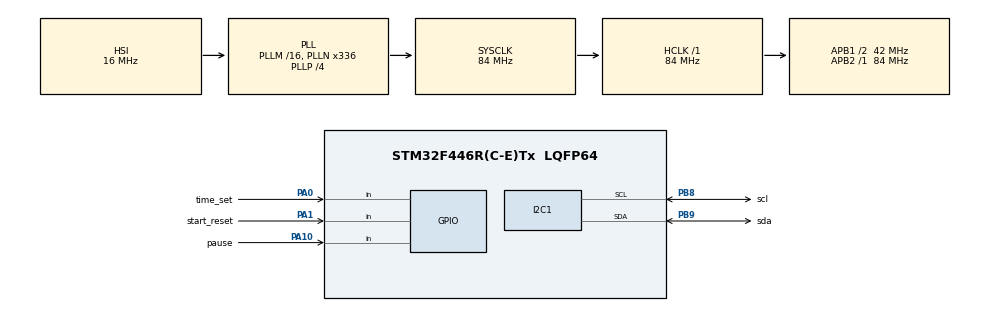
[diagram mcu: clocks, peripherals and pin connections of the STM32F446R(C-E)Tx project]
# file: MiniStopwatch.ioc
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Mcu.Family=STM32F4
Mcu.Name=STM32F446R(C-E)Tx
Mcu.Package=LQFP64
NVIC.PriorityGroup=NVIC_PRIORITYGROUP_0
NVIC.TIM2_IRQn=true\:0\:0\:false\:false\:true\:true\:true\:true
PA0-WKUP.GPIO_Label=time_set
PA0-WKUP.GPIO_PuPd=GPIO_PULLUP
PA0-WKUP.Signal=GPIO_Input
PA1.GPIO_Label=start_reset
PA1.GPIO_PuPd=GPIO_PULLUP
PA1.Signal=GPIO_Input
PA10.GPIO_Label=pause
PA10.GPIO_PuPd=GPIO_PULLUP
PA10.Signal=GPIO_Input
PA13.Mode=Serial_Wire
PA13.Signal=SYS_JTMS-SWDIO
PA14.Mode=Serial_Wire
PA14.Signal=SYS_JTCK-SWCLK
PB8.GPIO_Label=scl
PB8.Mode=I2C
PB8.Signal=I2C1_SCL
PB9.GPIO_Label=sda
PB9.Mode=I2C
PB9.Signal=I2C1_SDA
PH0-OSC_IN.Mode=HSE-External-Oscillator
PH0-OSC_IN.Signal=RCC_OSC_IN
PH1-OSC_OUT.Mode=HSE-External-Oscillator
PH1-OSC_OUT.Signal=RCC_OSC_OUT
ProjectManager.HeapSize=0x200
ProjectManager.StackSize=0x400
ProjectManager.TargetToolchain=STM32CubeIDE
RCC.48MHZClocksFreq_Value=84000000
RCC.AHBFreq_Value=84000000
RCC.APB1CLKDivider=RCC_HCLK_DIV2
RCC.APB1Freq_Value=42000000
RCC.APB1TimFreq_Value=84000000
RCC.APB2Freq_Value=84000000
RCC.APB2TimFreq_Value=84000000
RCC.CortexFreq_Value=84000000
RCC.FLatency-AdvancedSettings=FLASH_LATENCY_2
RCC.HCLKFreq_Value=84000000
RCC.HSE_VALUE=8000000
RCC.HSI_VALUE=16000000
RCC.PLLN=336
RCC.PLLP=RCC_PLLP_DIV4
RCC.SYSCLKFreq_VALUE=84000000
RCC.SYSCLKSource=RCC_SYSCLKSOURCE_PLLCLK
RCC.USBFreq_Value=168000000
RCC.VCOOutputFreq_Value=336000000
TIM2.Period=9
TIM2.Prescaler=8399
VP_TIM2_VS_ClockSourceINT.Mode=Internal
board=NUCLEO-F446RE

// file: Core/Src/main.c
/* USER CODE BEGIN Header */
/**
 ******************************************************************************
 * @file           : main.c
 * @brief          : Main program body
 ******************************************************************************
 * @attention
 *
 * Copyright (c) 2026 STMicroelectronics.
 * All rights reserved.
 *
 * This software is licensed under terms that can be found in the LICENSE file
 * in the root directory of this software component.
 * If no LICENSE file comes with this software, it is provided AS-IS.
 *
 ******************************************************************************
 */
/* USER CODE END Header */
#include "main.h"
#include <stdio.h>
#include "ssd1306.h"
#include "ssd1306_fonts.h"
#include "ssd1306_tests.h"

/* USER CODE BEGIN PTD */
typedef enum {
	STATE_IDLE, STATE_RUNNING, STATE_PAUSED, STATE_FINISHED
} State_t;

/* USER CODE END PTD */

I2C_HandleTypeDef hi2c1;

TIM_HandleTypeDef htim2;

/* USER CODE BEGIN PV */

volatile uint32_t total_ms = 0;
volatile State_t state = STATE_IDLE;
uint32_t set_minutes = 0;
uint32_t last_display_time = 0; // screen refresh control

/* USER CODE END PV */

void SystemClock_Config(void);
static void MX_GPIO_Init(void);
static void MX_I2C1_Init(void);
static void MX_TIM2_Init(void);

/* USER CODE BEGIN 0 */

void HAL_TIM_PeriodElapsedCallback(TIM_HandleTypeDef *htim) {
	if (htim->Instance == TIM2) {
		if (state == STATE_RUNNING && total_ms > 0) {
			total_ms--;

			if (total_ms == 0) {
				state = STATE_FINISHED;
			}
		}
	}
}

void check_buttons() {
	static uint32_t last_tick = 0;
	if (HAL_GetTick() - last_tick < 50)
		return; // 50ms debounce
	last_tick = HAL_GetTick();

	// Time setting button (PA0)
	if (HAL_GPIO_ReadPin(GPIOA, GPIO_PIN_0) == GPIO_PIN_RESET) {
		if (state == STATE_IDLE || state == STATE_FINISHED) {
			state = STATE_IDLE; // Eğer bittiyse başa dön
			set_minutes = (set_minutes >= 10) ? 0 : set_minutes + 1;
			total_ms = set_minutes * 60000;
		}
	}

	// Start / Reset Button (PA1)
	if (HAL_GPIO_ReadPin(GPIOA, GPIO_PIN_1) == GPIO_PIN_RESET) {
		if (state == STATE_IDLE && total_ms > 0) {
			state = STATE_RUNNING;
		} else { // Durdur ve Sıfırla
			state = STATE_IDLE;
			total_ms = 0;
			set_minutes = 0;
		}
	}

	// Pause Button (PA10)
	if (HAL_GPIO_ReadPin(pause_GPIO_Port, pause_Pin) == GPIO_PIN_RESET) {
		if (state == STATE_RUNNING)
			state = STATE_PAUSED;
		else if (state == STATE_PAUSED)
			state = STATE_RUNNING;
	}
}

void refresh_display() {
	// refresh rate = 20 fps (50 ms)
	if (HAL_GetTick() - last_display_time < 50)
		return;
	last_display_time = HAL_GetTick();

	ssd1306_Fill(Black); // Clear screen (on buffer)

	// safe total_ms reading
	__disable_irq();
	uint32_t temp_ms = total_ms;
	__enable_irq();

	uint32_t minutes = temp_ms / 60000;
	uint32_t seconds = (temp_ms % 60000) / 1000;
	uint32_t ms = temp_ms % 1000;

	char buffer[20];
	sprintf(buffer, "%02lu:%02lu:%03lu", minutes, seconds, ms);

	ssd1306_SetCursor(0, 0);
	ssd1306_WriteString("STOPWATCH", Font_7x10, White);

	ssd1306_SetCursor(0, 20);
	ssd1306_WriteString(buffer, Font_11x18, White);

	// state messages
	ssd1306_SetCursor(0, 50);
	if (state == STATE_PAUSED) {
		ssd1306_WriteString("PAUSED", Font_7x10, White);
	} else if (state == STATE_FINISHED) {
		ssd1306_WriteString("TIME'S UP!", Font_7x10, White);
	} else if (state == STATE_RUNNING) {
		ssd1306_WriteString("RUNNING...", Font_7x10, White);
	}

	ssd1306_UpdateScreen();
}

/* USER CODE END 0 */

int main(void) {

	/* MCU Configuration--------------------------------------------------------*/

	/* Reset of all peripherals, Initializes the Flash interface and the Systick. */
	HAL_Init();

	/* Configure the system clock */
	SystemClock_Config();

	/* Initialize all configured peripherals */
	MX_GPIO_Init();
	MX_I2C1_Init();
	MX_TIM2_Init();
	/* USER CODE BEGIN 2 */
	ssd1306_Init();

	HAL_TIM_Base_Start_IT(&htim2);
	/* USER CODE END 2 */

	/* Infinite loop */
	while (1) {

		/* USER CODE BEGIN 3 */
		check_buttons();
		refresh_display();
	}
	/* USER CODE END 3 */
}

void SystemClock_Config(void) {
	RCC_OscInitTypeDef RCC_OscInitStruct = { 0 };
	RCC_ClkInitTypeDef RCC_ClkInitStruct = { 0 };

	/** Configure the main internal regulator output voltage
	 */
	__HAL_RCC_PWR_CLK_ENABLE();
	__HAL_PWR_VOLTAGESCALING_CONFIG(PWR_REGULATOR_VOLTAGE_SCALE3);

	/** Initializes the RCC Oscillators according to the specified parameters
	 * in the RCC_OscInitTypeDef structure.
	 */
	RCC_OscInitStruct.OscillatorType = RCC_OSCILLATORTYPE_HSI;
	RCC_OscInitStruct.HSIState = RCC_HSI_ON;
	RCC_OscInitStruct.HSICalibrationValue = RCC_HSICALIBRATION_DEFAULT;
	RCC_OscInitStruct.PLL.PLLState = RCC_PLL_ON;
	RCC_OscInitStruct.PLL.PLLSource = RCC_PLLSOURCE_HSI;
	RCC_OscInitStruct.PLL.PLLM = 16;
	RCC_OscInitStruct.PLL.PLLN = 336;
	RCC_OscInitStruct.PLL.PLLP = RCC_PLLP_DIV4;
	RCC_OscInitStruct.PLL.PLLQ = 2;
	RCC_OscInitStruct.PLL.PLLR = 2;
	if (HAL_RCC_OscConfig(&RCC_OscInitStruct) != HAL_OK) {
		Error_Handler();
	}

	/** Initializes the CPU, AHB and APB buses clocks
	 */
	RCC_ClkInitStruct.ClockType = RCC_CLOCKTYPE_HCLK | RCC_CLOCKTYPE_SYSCLK
			| RCC_CLOCKTYPE_PCLK1 | RCC_CLOCKTYPE_PCLK2;
	RCC_ClkInitStruct.SYSCLKSource = RCC_SYSCLKSOURCE_PLLCLK;
	RCC_ClkInitStruct.AHBCLKDivider = RCC_SYSCLK_DIV1;
	RCC_ClkInitStruct.APB1CLKDivider = RCC_HCLK_DIV2;
	RCC_ClkInitStruct.APB2CLKDivider = RCC_HCLK_DIV1;

	if (HAL_RCC_ClockConfig(&RCC_ClkInitStruct, FLASH_LATENCY_2) != HAL_OK) {
		Error_Handler();
	}
}

static void MX_I2C1_Init(void) {

	hi2c1.Instance = I2C1;
	hi2c1.Init.ClockSpeed = 100000;
	hi2c1.Init.DutyCycle = I2C_DUTYCYCLE_2;
	hi2c1.Init.OwnAddress1 = 0;
	hi2c1.Init.AddressingMode = I2C_ADDRESSINGMODE_7BIT;
	hi2c1.Init.DualAddressMode = I2C_DUALADDRESS_DISABLE;
	hi2c1.Init.OwnAddress2 = 0;
	hi2c1.Init.GeneralCallMode = I2C_GENERALCALL_DISABLE;
	hi2c1.Init.NoStretchMode = I2C_NOSTRETCH_DISABLE;
	if (HAL_I2C_Init(&hi2c1) != HAL_OK) {
		Error_Handler();
	}

}

static void MX_TIM2_Init(void) {

	TIM_ClockConfigTypeDef sClockSourceConfig = { 0 };
	TIM_MasterConfigTypeDef sMasterConfig = { 0 };

	htim2.Instance = TIM2;
	htim2.Init.Prescaler = 8399;
	htim2.Init.CounterMode = TIM_COUNTERMODE_UP;
	htim2.Init.Period = 9;
	htim2.Init.ClockDivision = TIM_CLOCKDIVISION_DIV1;
	htim2.Init.AutoReloadPreload = TIM_AUTORELOAD_PRELOAD_DISABLE;
	if (HAL_TIM_Base_Init(&htim2) != HAL_OK) {
		Error_Handler();
	}
	sClockSourceConfig.ClockSource = TIM_CLOCKSOURCE_INTERNAL;
	if (HAL_TIM_ConfigClockSource(&htim2, &sClockSourceConfig) != HAL_OK) {
		Error_Handler();
	}
	sMasterConfig.MasterOutputTrigger = TIM_TRGO_RESET;
	sMasterConfig.MasterSlaveMode = TIM_MASTERSLAVEMODE_DISABLE;
	if (HAL_TIMEx_MasterConfigSynchronization(&htim2, &sMasterConfig)
			!= HAL_OK) {
		Error_Handler();
	}

}

static void MX_GPIO_Init(void) {
	GPIO_InitTypeDef GPIO_InitStruct = { 0 };

	/* GPIO Ports Clock Enable */
	__HAL_RCC_GPIOH_CLK_ENABLE();
	__HAL_RCC_GPIOA_CLK_ENABLE();
	__HAL_RCC_GPIOB_CLK_ENABLE();

	/*Configure GPIO pins : time_set_Pin start_reset_Pin pause_Pin */
	GPIO_InitStruct.Pin = time_set_Pin | start_reset_Pin | pause_Pin;
	GPIO_InitStruct.Mode = GPIO_MODE_INPUT;
	GPIO_InitStruct.Pull = GPIO_PULLUP;
	HAL_GPIO_Init(GPIOA, &GPIO_InitStruct);

}

void Error_Handler(void) {
	__disable_irq();
	while (1) {
	}
}
